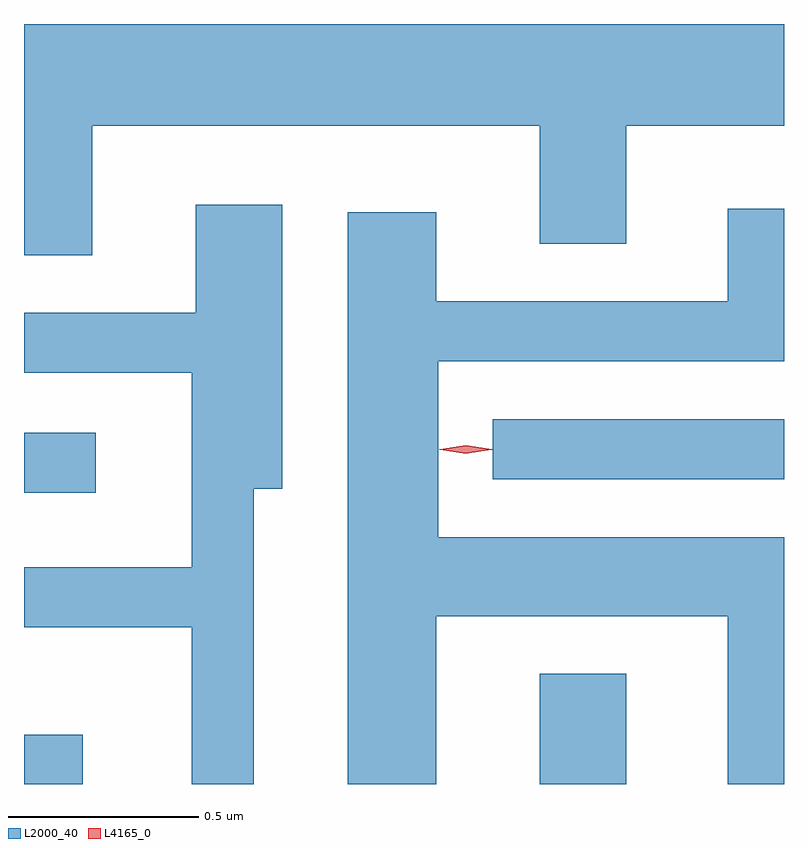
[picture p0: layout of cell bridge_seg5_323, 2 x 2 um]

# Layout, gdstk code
import gdstk
lib = gdstk.Library(unit=1e-6, precision=1e-09)
def R(c, l, rs):  # rectangles x0, y0, x1, y1
    for r in rs: c.add(gdstk.rectangle(r[:2], r[2:], *l))
def P(c, l, *ps):  # polygons
    for p in ps: c.add(gdstk.Polygon(p, *l))
L2000_40 = (2000, 40)
L4165_0 = (4165, 0)

bridge_seg5_323 = lib.new_cell('bridge_seg5_323')
R(bridge_seg5_323, L2000_40, [(660.664,1461.724,660.819,1461.854), (662.021,1461.724,662.249,1462.014), (660.664,1462.491,660.853,1462.649), (661.898,1462.526,662.664,1462.684)])
P(bridge_seg5_323, L2000_40, [(660.844,1463.456),(662.021,1463.456),(662.021,1463.146),(662.249,1463.146),(662.249,1463.456),(662.664,1463.456),(662.664,1463.724),(660.664,1463.724),(660.664,1463.116),(660.844,1463.116)],
  [(661.269,1462.501),(661.344,1462.501),(661.344,1463.249),(661.116,1463.249),(661.116,1462.964),(660.664,1462.964),(660.664,1462.806),(661.106,1462.806),(661.106,1462.294),(660.664,1462.294),(660.664,1462.136),(661.106,1462.136),(661.106,1461.724),(661.269,1461.724)],
  [(661.749,1462.166),(662.516,1462.166),(662.516,1461.724),(662.664,1461.724),(662.664,1462.374),(661.754,1462.374),(661.754,1462.836),(662.664,1462.836),(662.664,1463.238),(662.516,1463.238),(662.516,1462.994),(661.749,1462.994),(661.749,1463.229),(661.516,1463.229),(661.516,1461.724),(661.749,1461.724)])
P(bridge_seg5_323, L4165_0, [(661.827,1462.595),(661.758,1462.604),(661.757,1462.605),(661.758,1462.605),(661.827,1462.615),(661.896,1462.605),(661.896,1462.605),(661.896,1462.604)],
  [(661.826,1462.593),(661.76,1462.603),(661.76,1462.603),(661.76,1462.604),(661.826,1462.613),(661.892,1462.604),(661.893,1462.603),(661.892,1462.603)])

lib.write_gds('bridge_seg5_323.gds')
